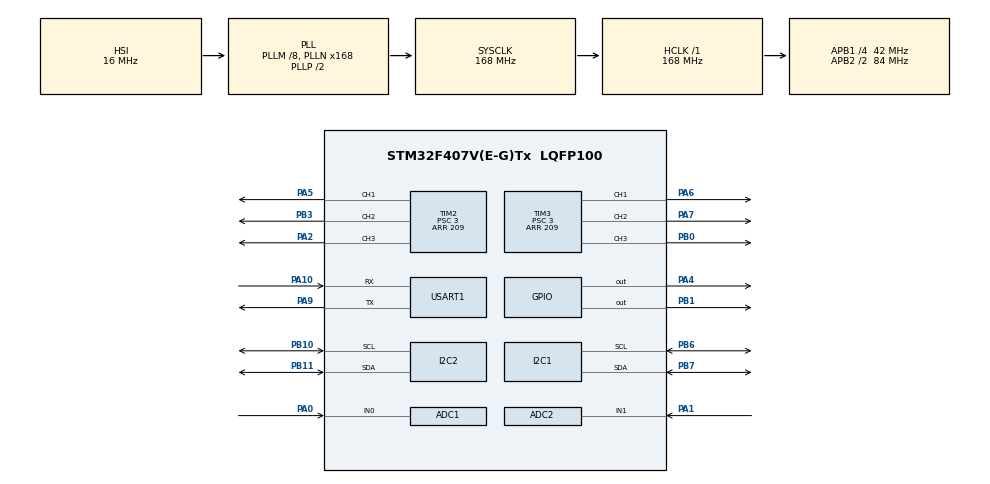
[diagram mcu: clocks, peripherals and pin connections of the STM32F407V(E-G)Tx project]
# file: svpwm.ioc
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ADC1.Channel-1\#ChannelRegularConversion=ADC_CHANNEL_0
ADC1.NbrOfConversionFlag=1
ADC1.Rank-1\#ChannelRegularConversion=1
ADC1.SamplingTime-1\#ChannelRegularConversion=ADC_SAMPLETIME_3CYCLES
ADC1.master=1
ADC2.Channel-4\#ChannelRegularConversion=ADC_CHANNEL_1
ADC2.NbrOfConversionFlag=1
ADC2.Rank-4\#ChannelRegularConversion=1
ADC2.SamplingTime-4\#ChannelRegularConversion=ADC_SAMPLETIME_3CYCLES
Dma.I2C1_RX.0.Direction=DMA_PERIPH_TO_MEMORY
Dma.I2C1_RX.0.FIFOMode=DMA_FIFOMODE_DISABLE
Dma.I2C1_RX.0.Instance=DMA1_Stream0
Dma.I2C1_RX.0.MemDataAlignment=DMA_MDATAALIGN_BYTE
Dma.I2C1_RX.0.MemInc=DMA_MINC_ENABLE
Dma.I2C1_RX.0.Mode=DMA_NORMAL
Dma.I2C1_RX.0.PeriphDataAlignment=DMA_PDATAALIGN_BYTE
Dma.I2C1_RX.0.PeriphInc=DMA_PINC_DISABLE
Dma.I2C1_RX.0.Priority=DMA_PRIORITY_LOW
Dma.I2C1_TX.1.Direction=DMA_MEMORY_TO_PERIPH
Dma.I2C1_TX.1.FIFOMode=DMA_FIFOMODE_DISABLE
Dma.I2C1_TX.1.Instance=DMA1_Stream6
Dma.I2C1_TX.1.MemDataAlignment=DMA_MDATAALIGN_BYTE
Dma.I2C1_TX.1.MemInc=DMA_MINC_ENABLE
Dma.I2C1_TX.1.Mode=DMA_NORMAL
Dma.I2C1_TX.1.PeriphDataAlignment=DMA_PDATAALIGN_BYTE
Dma.I2C1_TX.1.PeriphInc=DMA_PINC_DISABLE
Dma.I2C1_TX.1.Priority=DMA_PRIORITY_LOW
Dma.I2C2_RX.2.Direction=DMA_PERIPH_TO_MEMORY
Dma.I2C2_RX.2.FIFOMode=DMA_FIFOMODE_DISABLE
Dma.I2C2_RX.2.Instance=DMA1_Stream2
Dma.I2C2_RX.2.MemDataAlignment=DMA_MDATAALIGN_BYTE
Dma.I2C2_RX.2.MemInc=DMA_MINC_ENABLE
Dma.I2C2_RX.2.Mode=DMA_NORMAL
Dma.I2C2_RX.2.PeriphDataAlignment=DMA_PDATAALIGN_BYTE
Dma.I2C2_RX.2.PeriphInc=DMA_PINC_DISABLE
Dma.I2C2_RX.2.Priority=DMA_PRIORITY_LOW
Dma.I2C2_TX.3.Direction=DMA_MEMORY_TO_PERIPH
Dma.I2C2_TX.3.FIFOMode=DMA_FIFOMODE_DISABLE
Dma.I2C2_TX.3.Instance=DMA1_Stream7
Dma.I2C2_TX.3.MemDataAlignment=DMA_MDATAALIGN_BYTE
Dma.I2C2_TX.3.MemInc=DMA_MINC_ENABLE
Dma.I2C2_TX.3.Mode=DMA_NORMAL
Dma.I2C2_TX.3.PeriphDataAlignment=DMA_PDATAALIGN_BYTE
Dma.I2C2_TX.3.PeriphInc=DMA_PINC_DISABLE
Dma.I2C2_TX.3.Priority=DMA_PRIORITY_LOW
Dma.Request0=I2C1_RX
Dma.Request1=I2C1_TX
Dma.Request2=I2C2_RX
Dma.Request3=I2C2_TX
I2C1.I2C_Mode=I2C_Fast
I2C2.I2C_Mode=I2C_Fast
IWDG.Prescaler=IWDG_PRESCALER_16
IWDG.Reload=249
Mcu.Family=STM32F4
Mcu.Name=STM32F407V(E-G)Tx
Mcu.Package=LQFP100
NVIC.DMA1_Stream0_IRQn=true\:0\:0\:false\:false\:true\:false\:true\:true
NVIC.DMA1_Stream2_IRQn=true\:0\:0\:false\:false\:true\:false\:true\:true
NVIC.DMA1_Stream6_IRQn=true\:0\:0\:false\:false\:true\:false\:true\:true
NVIC.DMA1_Stream7_IRQn=true\:0\:0\:false\:false\:true\:false\:true\:true
NVIC.I2C1_ER_IRQn=true\:1\:0\:true\:false\:true\:true\:true\:true
NVIC.I2C1_EV_IRQn=true\:0\:0\:false\:false\:true\:true\:true\:true
NVIC.I2C2_ER_IRQn=true\:1\:0\:true\:false\:true\:true\:true\:true
NVIC.I2C2_EV_IRQn=true\:0\:0\:false\:false\:true\:true\:true\:true
NVIC.PriorityGroup=NVIC_PRIORITYGROUP_4
NVIC.TIM5_IRQn=true\:2\:0\:true\:false\:true\:true\:true\:true
PA0-WKUP.Signal=ADCx_IN0
PA1.Signal=ADCx_IN1
PA10.Mode=Asynchronous
PA10.Signal=USART1_RX
PA13.Mode=Serial_Wire
PA13.Signal=SYS_JTMS-SWDIO
PA14.Mode=Serial_Wire
PA14.Signal=SYS_JTCK-SWCLK
PA2.Signal=S_TIM2_CH3
PA4.GPIO_ModeDefaultOutputPP=GPIO_MODE_OUTPUT_PP
PA4.GPIO_Speed=GPIO_SPEED_FREQ_HIGH
PA4.PinState=GPIO_PIN_SET
PA4.Signal=GPIO_Output
PA5.GPIO_Speed=GPIO_SPEED_FREQ_VERY_HIGH
PA5.Signal=S_TIM2_CH1_ETR
PA6.GPIO_Speed=GPIO_SPEED_FREQ_VERY_HIGH
PA6.Signal=S_TIM3_CH1
PA7.GPIO_Speed=GPIO_SPEED_FREQ_VERY_HIGH
PA7.Signal=S_TIM3_CH2
PA9.Mode=Asynchronous
PA9.Signal=USART1_TX
PB0.GPIO_Speed=GPIO_SPEED_FREQ_VERY_HIGH
PB0.Signal=S_TIM3_CH3
PB1.GPIO_Speed=GPIO_SPEED_FREQ_HIGH
PB1.PinState=GPIO_PIN_SET
PB1.Signal=GPIO_Output
PB10.Mode=I2C
PB10.Signal=I2C2_SCL
PB11.Mode=I2C
PB11.Signal=I2C2_SDA
PB3.GPIO_Speed=GPIO_SPEED_FREQ_VERY_HIGH
PB3.Signal=S_TIM2_CH2
PB6.Mode=I2C
PB6.Signal=I2C1_SCL
PB7.Mode=I2C
PB7.Signal=I2C1_SDA
PC14-OSC32_IN.Mode=LSE-External-Oscillator
PC14-OSC32_IN.Signal=RCC_OSC32_IN
PC15-OSC32_OUT.Mode=LSE-External-Oscillator
PC15-OSC32_OUT.Signal=RCC_OSC32_OUT
PH0-OSC_IN.Mode=HSE-External-Oscillator
PH0-OSC_IN.Signal=RCC_OSC_IN
PH1-OSC_OUT.Mode=HSE-External-Oscillator
PH1-OSC_OUT.Signal=RCC_OSC_OUT
ProjectManager.HeapSize=0x200
ProjectManager.StackSize=0x400
ProjectManager.TargetToolchain=MDK-ARM V5.32
RCC.48MHZClocksFreq_Value=84000000
RCC.AHBFreq_Value=168000000
RCC.APB1CLKDivider=RCC_HCLK_DIV4
RCC.APB1Freq_Value=42000000
RCC.APB1TimFreq_Value=84000000
RCC.APB2CLKDivider=RCC_HCLK_DIV2
RCC.APB2Freq_Value=84000000
RCC.APB2TimFreq_Value=168000000
RCC.CortexFreq_Value=168000000
RCC.HCLKFreq_Value=168000000
RCC.HSE_VALUE=25000000
RCC.HSI_VALUE=16000000
RCC.PLLM=8
RCC.PLLN=168
RCC.SYSCLKFreq_VALUE=168000000
RCC.SYSCLKSource=RCC_SYSCLKSOURCE_PLLCLK
RCC.VCOOutputFreq_Value=336000000
SH.ADCx_IN0.0=ADC1_IN0,IN0
SH.ADCx_IN1.0=ADC2_IN1,IN1
SH.S_TIM2_CH1_ETR.0=TIM2_CH1,PWM Generation1 CH1
SH.S_TIM2_CH2.0=TIM2_CH2,PWM Generation2 CH2
SH.S_TIM2_CH3.0=TIM2_CH3,PWM Generation3 CH3
SH.S_TIM3_CH1.0=TIM3_CH1,PWM Generation1 CH1
SH.S_TIM3_CH2.0=TIM3_CH2,PWM Generation2 CH2
SH.S_TIM3_CH3.0=TIM3_CH3,PWM Generation3 CH3
TIM2.Channel-PWM\ Generation1\ CH1=TIM_CHANNEL_1
TIM2.Channel-PWM\ Generation2\ CH2=TIM_CHANNEL_2
TIM2.Channel-PWM\ Generation3\ CH3=TIM_CHANNEL_3
TIM2.CounterMode=TIM_COUNTERMODE_CENTERALIGNED1
TIM2.Period=209
TIM2.Prescaler=3
TIM3.Channel-PWM\ Generation1\ CH1=TIM_CHANNEL_1
TIM3.Channel-PWM\ Generation2\ CH2=TIM_CHANNEL_2
TIM3.Channel-PWM\ Generation3\ CH3=TIM_CHANNEL_3
TIM3.CounterMode=TIM_COUNTERMODE_CENTERALIGNED1
TIM3.Period=209
TIM3.Prescaler=3
TIM5.AutoReloadPreload=TIM_AUTORELOAD_PRELOAD_ENABLE
TIM5.Period=4
TIM5.Prescaler=83
USART1.VirtualMode=VM_ASYNC
VP_IWDG_VS_IWDG.Mode=IWDG_Activate
VP_TIM2_VS_ClockSourceINT.Mode=Internal
VP_TIM3_VS_ClockSourceINT.Mode=Internal
VP_TIM5_VS_ClockSourceINT.Mode=Internal
board=custom

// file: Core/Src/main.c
/* USER CODE BEGIN Header */
/**
  ******************************************************************************
  * @file           : main.c
  * @brief          : Main program body
  ******************************************************************************
  * @attention
  *
  * Copyright (c) 2024 STMicroelectronics.
  * All rights reserved.
  *
  * This software is licensed under terms that can be found in the LICENSE file
  * in the root directory of this software component.
  * If no LICENSE file comes with this software, it is provided AS-IS.
  *
  ******************************************************************************
  */
/* USER CODE END Header */
#include "main.h"
#include "adc.h"
#include "dma.h"
#include "i2c.h"
#include "iwdg.h"
#include "tim.h"
#include "usart.h"
#include "gpio.h"

/* USER CODE BEGIN Includes */
#include "as5600.h"
#define ARM_MATH_CM4
#include "arm_math.h"
#include "micro_5ms.h"
#include "PID.h"
#include "SVPWM.h"
#include "acceleration.h"
#include "Routine.h"
#include <stdio.h>
//位置-速度-加速度

#define M0_Acceleration_P 0.5
#define M0_Acceleration_I 0.8 //此I环不同解决两电机不同阻尼问题
#define M0_Acceleration_D 0.1 //此D环不同解决两电机不同阻尼问题
#define M1_Acceleration_P 0.5
#define M1_Acceleration_I 0.2
#define M1_Acceleration_D 0.1
#define M0_Velocity_P 20
#define M0_Velocity_I 1
#define M0_Velocity_D 0.2
#define M1_Velocity_P 20
#define M1_Velocity_I 1
#define M1_Velocity_D 0.2
#define M0_Angle_P 100
#define M0_Angle_I 0
#define M0_Angle_D 10
#define M1_Angle_P 100
#define M1_Angle_I 0
#define M1_Angle_D 10

////速度
//#define M0_Velocity_P 1
//#define M0_Velocity_I 5
//#define M0_Velocity_D 0
//#define M1_Velocity_P 1
//#define M1_Velocity_I 5
//#define M1_Velocity_D 0
//#define M0_Angle_P 20
//#define M0_Angle_I 0
//#define M0_Angle_D 0.1
//#define M1_Angle_P 20
//#define M1_Angle_I 0
//#define M1_Angle_D 0.1

#define MAX_Speed_M0 0.515
//速度最大值
#define MAX_Speed_M1 0.5

#define MAX_Acceleratio_M0 5//加速度最大值
#define MAX_Acceleratio_M1 5

#define MAX_AcAcceleratio_M0 6
#define MAX_AcAcceleratio_M1 6
/* USER CODE END Includes */

/* USER CODE BEGIN PD */
volatile uint64_t REAL_TIME = 0;

float offset_ia_1 = 0;
float offset_ib_1 = 0;

float Current_a_1;
float Current_b_1;
float Current_c_1;

/* USER CODE END PD */

void SystemClock_Config(void);
/* USER CODE BEGIN PFP */
void HAL_TIM_PeriodElapsedCallback(TIM_HandleTypeDef * htim)
{
	if (htim==(&htim5))
	{
		REAL_TIME++;
	}
}

/* USER CODE END PFP */

int main(void)
{

  /* MCU Configuration--------------------------------------------------------*/

  /* Reset of all peripherals, Initializes the Flash interface and the Systick. */
  HAL_Init();

  /* Configure the system clock */
  SystemClock_Config();

  /* Initialize all configured peripherals */
  MX_GPIO_Init();
  MX_DMA_Init();
  MX_ADC1_Init();
  MX_I2C1_Init();
  MX_I2C2_Init();
  MX_TIM2_Init();
  MX_TIM5_Init();
  MX_USART1_UART_Init();
  MX_ADC2_Init();
  MX_TIM3_Init();
  MX_IWDG_Init();
  /* USER CODE BEGIN 2 */
  //初始化pwm输出

  HAL_TIM_PWM_Start((TIM_HandleTypeDef *)&htim2, (uint32_t) TIM_CHANNEL_1);
  HAL_TIM_PWM_Start((TIM_HandleTypeDef *)&htim2, (uint32_t) TIM_CHANNEL_2);
  HAL_TIM_PWM_Start((TIM_HandleTypeDef *)&htim2, (uint32_t) TIM_CHANNEL_3);
  HAL_TIM_PWM_Start((TIM_HandleTypeDef *)&htim3, (uint32_t) TIM_CHANNEL_1);
  HAL_TIM_PWM_Start((TIM_HandleTypeDef *)&htim3, (uint32_t) TIM_CHANNEL_2);
  HAL_TIM_PWM_Start((TIM_HandleTypeDef *)&htim3, (uint32_t) TIM_CHANNEL_3);
  HAL_TIM_Base_Start_IT(&htim5);

  //初始化adc
  HAL_ADC_Start(&hadc1);
  HAL_ADC_Start(&hadc2);
  HAL_ADC_PollForConversion(&hadc1, 1000);
  HAL_ADC_PollForConversion(&hadc2, 1000);

  //初始化pid参数
  Acceleration_PIDInit_M0(M0_Acceleration_P, M0_Acceleration_I, M0_Acceleration_D);
  Acceleration_PIDInit_M1(M1_Acceleration_P, M1_Acceleration_I, M1_Acceleration_D);
  Velocity_PIDInit_M0(M0_Velocity_P ,M0_Velocity_I, M0_Velocity_D);
  Velocity_PIDInit_M1(M1_Velocity_P ,M1_Velocity_I, M1_Velocity_D);
  Angle_PIDInit_M0(M0_Angle_P ,M0_Angle_I, M0_Angle_D);
  Angle_PIDInit_M1(M1_Angle_P ,M1_Angle_I, M1_Angle_D);

  //初始化低通滤波器
  Vel_LowPass_FilterInit_M0();
  Vel_LowPass_FilterInit_M1();
  Acl_LowPass_FilterInit_M0();
  Acl_LowPass_FilterInit_M1();

  //初始化编码器
  bsp_as5600_1_Init();
  bsp_as5600_2_Init();

  //初始化看门狗
  MX_IWDG_Init();

//控制引脚使能
  HAL_GPIO_WritePin(GPIOA, GPIO_PIN_4, GPIO_PIN_SET);
  HAL_GPIO_WritePin(GPIOB, GPIO_PIN_1, GPIO_PIN_SET);

  //设定速度最大值（小车）
  set_MAX_Velocity_M0(MAX_Speed_M0 / 0.04);
  set_MAX_Velocity_M1(MAX_Speed_M1 / 0.04);

  //设定加速度最大值
  set_MAX_Acceleration_M0(MAX_Acceleratio_M0);
  set_MAX_Acceleration_M1(MAX_Acceleratio_M1);

  //设定加加速度最大值
  set_MAX_AcAcceleration_M0(MAX_AcAcceleratio_M0);
  set_MAX_AcAcceleration_M1(MAX_AcAcceleratio_M1);

//  char Send_Data[50];

  /* USER CODE END 2 */

  /* Infinite loop */
  /* USER CODE BEGIN WHILE */
  while (1)
  {
//	  Calculate_CarVelocity(0.5, 0);
//    M0_set_Force_Angle(20); //闭环角度
//	  M0_setTorque(4, micro_5us()*7*5e-6f*5); //开环
//	  M0_SetVelocity(5); //闭环速度
//	  M1_SetVelocity(-5); //闭环速度
	  //调试串口
//	float time_send = s0_GetAcAcceleration();
//	sprintf(Send_Data,"%f",time_send);
//
//	  if((micro_5us() % 100000) <= 20)
//	  {
//		HAL_UART_Transmit(&huart1,(uint8_t *)Send_Data,5,1000);
//	  }
//
	  if (REAL_TIME > 200000)
	  {
		Calculate_CarDisPlacement(10, 0);
	  }

	  //喂狗
	  HAL_IWDG_Refresh(&hiwdg);
    /* USER CODE END WHILE */

  }
}

void SystemClock_Config(void)
{
  RCC_OscInitTypeDef RCC_OscInitStruct = {0};
  RCC_ClkInitTypeDef RCC_ClkInitStruct = {0};

  /** Configure the main internal regulator output voltage
  */
  __HAL_RCC_PWR_CLK_ENABLE();
  __HAL_PWR_VOLTAGESCALING_CONFIG(PWR_REGULATOR_VOLTAGE_SCALE1);

  /** Initializes the RCC Oscillators according to the specified parameters
  * in the RCC_OscInitTypeDef structure.
  */
  RCC_OscInitStruct.OscillatorType = RCC_OSCILLATORTYPE_HSI|RCC_OSCILLATORTYPE_LSI;
  RCC_OscInitStruct.HSIState = RCC_HSI_ON;
  RCC_OscInitStruct.HSICalibrationValue = RCC_HSICALIBRATION_DEFAULT;
  RCC_OscInitStruct.LSIState = RCC_LSI_ON;
  RCC_OscInitStruct.PLL.PLLState = RCC_PLL_ON;
  RCC_OscInitStruct.PLL.PLLSource = RCC_PLLSOURCE_HSI;
  RCC_OscInitStruct.PLL.PLLM = 8;
  RCC_OscInitStruct.PLL.PLLN = 168;
  RCC_OscInitStruct.PLL.PLLP = RCC_PLLP_DIV2;
  RCC_OscInitStruct.PLL.PLLQ = 4;
  if (HAL_RCC_OscConfig(&RCC_OscInitStruct) != HAL_OK)
  {
    Error_Handler();
  }

  /** Initializes the CPU, AHB and APB buses clocks
  */
  RCC_ClkInitStruct.ClockType = RCC_CLOCKTYPE_HCLK|RCC_CLOCKTYPE_SYSCLK
                              |RCC_CLOCKTYPE_PCLK1|RCC_CLOCKTYPE_PCLK2;
  RCC_ClkInitStruct.SYSCLKSource = RCC_SYSCLKSOURCE_PLLCLK;
  RCC_ClkInitStruct.AHBCLKDivider = RCC_SYSCLK_DIV1;
  RCC_ClkInitStruct.APB1CLKDivider = RCC_HCLK_DIV4;
  RCC_ClkInitStruct.APB2CLKDivider = RCC_HCLK_DIV2;

  if (HAL_RCC_ClockConfig(&RCC_ClkInitStruct, FLASH_LATENCY_5) != HAL_OK)
  {
    Error_Handler();
  }
}

void Error_Handler(void)
{
  __disable_irq();
  while (1)
  {
  }
}
